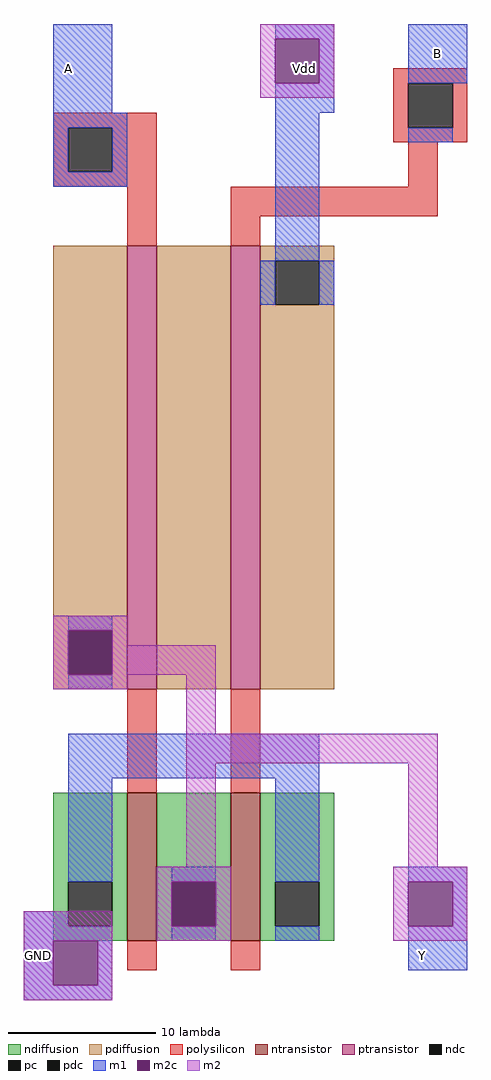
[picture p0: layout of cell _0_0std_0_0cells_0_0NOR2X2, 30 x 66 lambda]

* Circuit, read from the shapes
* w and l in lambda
.subckt _0_0std_0_0cells_0_0NOR2X2 Y A
M1 Y A GND VSUBS nfet w=10 l=2
M2 GND B Y VSUBS nfet w=10 l=2
M3 n1 A Y NWELL pfet w=30 l=2
M4 Vdd B n1 NWELL pfet w=30 l=2
.ends

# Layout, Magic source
magic
tech sky130l
<< ndiffusion >>
rect 8 10 13 16
rect 8 7 9 10
rect 12 7 13 10
rect 8 6 13 7
rect 15 10 20 16
rect 15 7 16 10
rect 19 7 20 10
rect 15 6 20 7
rect 22 10 27 16
rect 22 7 23 10
rect 26 7 27 10
rect 22 6 27 7
<< ndc >>
rect 9 7 12 10
rect 16 7 19 10
rect 23 7 26 10
<< ntransistor >>
rect 13 6 15 16
rect 20 6 22 16
<< pdiffusion >>
rect 8 27 13 53
rect 8 24 9 27
rect 12 24 13 27
rect 8 23 13 24
rect 15 23 20 53
rect 22 52 27 53
rect 22 49 23 52
rect 26 49 27 52
rect 22 23 27 49
<< pdc >>
rect 9 24 12 27
rect 23 49 26 52
<< ptransistor >>
rect 13 23 15 53
rect 20 23 22 53
<< polysilicon >>
rect 31 64 36 65
rect 8 61 15 62
rect 8 58 9 61
rect 12 58 15 61
rect 31 61 32 64
rect 35 61 36 64
rect 31 60 36 61
rect 8 57 15 58
rect 32 57 34 60
rect 13 53 15 57
rect 20 55 34 57
rect 20 53 22 55
rect 13 16 15 23
rect 20 16 22 23
rect 13 4 15 6
rect 20 4 22 6
<< pc >>
rect 9 58 12 61
rect 32 61 35 64
<< m1 >>
rect 8 62 12 68
rect 23 67 27 68
rect 26 64 27 67
rect 23 62 27 64
rect 32 64 36 68
rect 8 61 13 62
rect 8 58 9 61
rect 12 58 13 61
rect 8 57 13 58
rect 23 52 26 62
rect 32 60 35 61
rect 22 49 23 52
rect 26 49 27 52
rect 9 27 12 28
rect 9 23 12 24
rect 9 17 26 20
rect 9 10 12 17
rect 6 7 9 8
rect 6 6 12 7
rect 16 10 19 11
rect 16 6 19 7
rect 23 10 26 17
rect 23 6 26 7
rect 32 10 36 11
rect 35 7 36 10
rect 6 3 8 6
rect 11 3 12 6
rect 32 4 36 7
rect 6 2 12 3
<< m2c >>
rect 23 64 26 67
rect 9 24 12 27
rect 16 7 19 10
rect 32 7 35 10
rect 8 3 11 6
<< m2 >>
rect 22 67 27 68
rect 22 64 23 67
rect 26 64 27 67
rect 22 63 27 64
rect 8 27 13 28
rect 8 24 9 27
rect 12 26 13 27
rect 12 24 19 26
rect 8 23 13 24
rect 17 20 19 24
rect 17 18 34 20
rect 17 11 19 18
rect 32 11 34 18
rect 15 10 20 11
rect 6 6 12 8
rect 15 7 16 10
rect 19 7 20 10
rect 15 6 20 7
rect 31 10 36 11
rect 31 7 32 10
rect 35 7 36 10
rect 31 6 36 7
rect 6 3 8 6
rect 11 3 12 6
rect 6 2 12 3
<< labels >>
rlabel m1 9 65 9 65 3 A
port 5 e
rlabel m1 33 5 33 5 3 Y
port 1 e
rlabel m1 23 62 27 68 5 Vdd
rlabel m2 6 2 8 8 2 GND
rlabel m1 32 64 36 68 6 B
<< end >>
